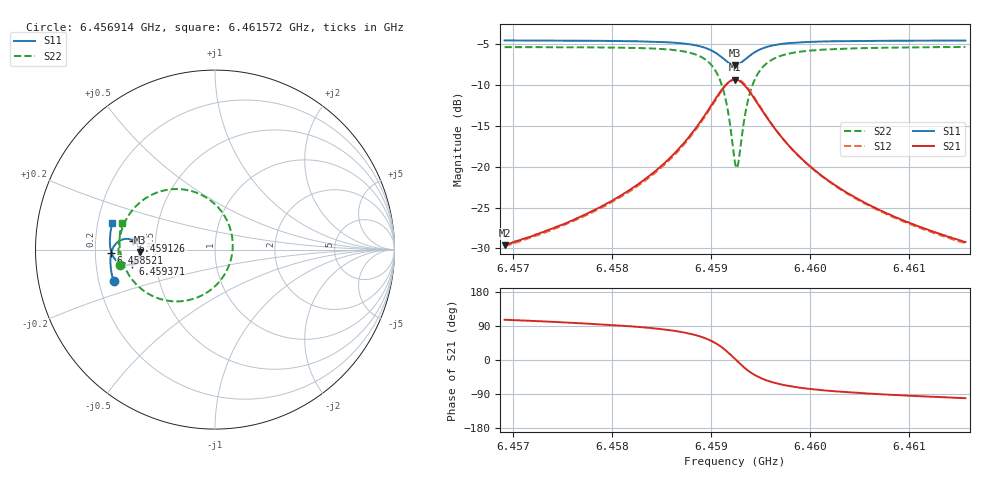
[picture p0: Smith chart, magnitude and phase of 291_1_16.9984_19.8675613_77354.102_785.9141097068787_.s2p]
#  HZ  S  RI  R  50.00
! Rohde & Schwarz Vector Network Analyzer
! Rohde-Schwarz,ZNB20-2Port,1311601062101988,3.16
! Created: UTC 3/20/2024, 11:05:06 PM
! freq[Hz]  re:S11  im:S11  re:S21  im:S21  re:S12  im:S12  re:S22  im:S22
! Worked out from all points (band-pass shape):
!   401 points, 6.456914 GHz to 6.461572 GHz, reference 50 ohm
!   highest |S21| = -9.35 dB at 6.459243 GHz (marker M1); lowest = -29.6 dB at 6.456914 GHz (marker M2)
!   |S21| within 3 dB of the highest: 6.459011 GHz to 6.459475 GHz (464.3 kHz wide, 0.00719 % of centre)
!   lowest |S11| = -7.6 dB at 6.459243 GHz (marker M3), VSWR 2.44, Z = 20.5 - j0.626 ohm
!   |S11| at or under -10 dB: nowhere
!   |S22| runs from -20.1 to -5.3 dB; largest |S21 - S12| = 0.013
!   S11 on the Smith chart (normalised r, x): 6.456914 GHz: 0.26, -0.14; 6.458521 GHz: 0.27, -0.02; 6.459126 GHz: 0.37, +0.05; 6.459371 GHz: 0.37, -0.07; 6.461572 GHz: 0.26, +0.12
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6.4569142e9  -0.565 -0.1775  -0.0092 0.0318  -0.00729 0.0318  -0.5318 -0.0867
6.4576943e9  -0.5797 -0.1096  -0.00585 0.0495  -0.00326 0.0489  -0.5377 0.0031
6.4581251e9  -0.5832 -0.0667  -6.31e-05 0.0689  0.00313 0.0673  -0.53 0.0702
6.4584744e9  -0.5797 -0.0251  0.0135 0.0972  0.0174 0.0945  -0.5054 0.1469
6.458521e9  -0.5783 -0.0189  0.0168 0.1027  0.0207 0.0995  -0.4991 0.16
6.4587422e9  -0.5654 0.0151  0.0446 0.136  0.0487 0.1311  -0.4472 0.2349
6.4588936e9  -0.5431 0.0415  0.089 0.1664  0.0922 0.1597  -0.3656 0.2986
6.4590333e9  -0.4998 0.0596  0.1748 0.1834  0.1759 0.176  -0.2097 0.3373
6.4591265e9  -0.4553 0.0499  0.2639 0.1533  0.2642 0.147  -0.0461 0.2885
6.459173e9  -0.4339 0.0314  0.3072 0.111  0.3085 0.1054  0.0353 0.2136
6.4592429e9  -0.4189 -0.0126  0.3406 0.0152  0.3442 0.00779  0.0988 0.037
6.4592545e9  -0.4193 -0.0204  0.3406 -0.00239  0.344 -0.0103  0.0984 0.00388
6.4592778e9  -0.4228 -0.036  0.3352 -0.0369  0.3386 -0.0462  0.0875 -0.0606
6.459336e9  -0.4433 -0.0671  0.2974 -0.1082  0.2983 -0.1206  0.0111 -0.1935
6.459371e9  -0.4601 -0.0783  0.2655 -0.1369  0.2642 -0.1501  -0.0533 -0.2444
6.4594641e9  -0.5033 -0.0851  0.1816 -0.1676  0.1752 -0.1789  -0.219 -0.2887
6.4596155e9  -0.5469 -0.0646  0.0948 -0.1541  0.0864 -0.1598  -0.3824 -0.2394
6.4597785e9  -0.5685 -0.037  0.0507 -0.1266  0.0432 -0.1291  -0.4609 -0.1684
6.460023e9  -0.5811 -0.00144  0.0221 -0.0958  0.0163 -0.096  -0.5072 -0.0873
6.4603723e9  -0.5857 0.0398  0.00616 -0.0691  0.00228 -0.0687  -0.5281 -0.00911
6.4608031e9  -0.5838 0.0829  -0.00138 -0.0511  -0.00419 -0.0502  -0.5317 0.0585
6.4615715e9  -0.5715 0.1508  -0.00642 -0.034  -0.00809 -0.033  -0.5198 0.1478
